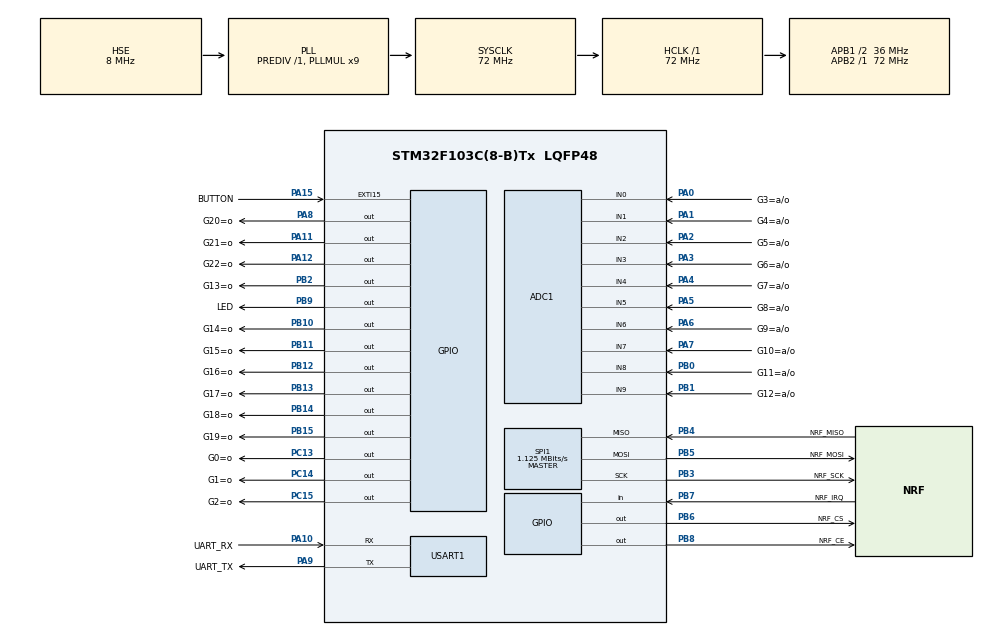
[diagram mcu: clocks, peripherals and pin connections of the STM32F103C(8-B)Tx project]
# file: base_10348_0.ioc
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ADC1.Channel-49\#ChannelRegularConversion=ADC_CHANNEL_0
ADC1.Channel-50\#ChannelRegularConversion=ADC_CHANNEL_1
ADC1.Channel-51\#ChannelRegularConversion=ADC_CHANNEL_2
ADC1.Channel-52\#ChannelRegularConversion=ADC_CHANNEL_3
ADC1.Channel-53\#ChannelRegularConversion=ADC_CHANNEL_4
ADC1.Channel-54\#ChannelRegularConversion=ADC_CHANNEL_5
ADC1.Channel-55\#ChannelRegularConversion=ADC_CHANNEL_6
ADC1.Channel-56\#ChannelRegularConversion=ADC_CHANNEL_7
ADC1.Channel-57\#ChannelRegularConversion=ADC_CHANNEL_8
ADC1.Channel-58\#ChannelRegularConversion=ADC_CHANNEL_9
ADC1.Channel-59\#ChannelRegularConversion=ADC_CHANNEL_0
ADC1.ContinuousConvMode=DISABLE
ADC1.DataAlign=ADC_DATAALIGN_RIGHT
ADC1.DiscontinuousConvMode=DISABLE
ADC1.EnableAnalogWatchDog=false
ADC1.EnableRegularConversion=ENABLE
ADC1.ExternalTrigConv=ADC_SOFTWARE_START
ADC1.InjNumberOfConversion=0
ADC1.NbrOfConversion=10
ADC1.NbrOfConversionFlag=1
ADC1.Rank-49\#ChannelRegularConversion=1
ADC1.Rank-50\#ChannelRegularConversion=2
ADC1.Rank-51\#ChannelRegularConversion=3
ADC1.Rank-52\#ChannelRegularConversion=4
ADC1.Rank-53\#ChannelRegularConversion=5
ADC1.Rank-54\#ChannelRegularConversion=6
ADC1.Rank-55\#ChannelRegularConversion=7
ADC1.Rank-56\#ChannelRegularConversion=8
ADC1.Rank-57\#ChannelRegularConversion=9
ADC1.Rank-58\#ChannelRegularConversion=10
ADC1.Rank-59\#ChannelRegularConversion=1
ADC1.SamplingTime-49\#ChannelRegularConversion=ADC_SAMPLETIME_239CYCLES_5
ADC1.SamplingTime-50\#ChannelRegularConversion=ADC_SAMPLETIME_239CYCLES_5
ADC1.SamplingTime-51\#ChannelRegularConversion=ADC_SAMPLETIME_239CYCLES_5
ADC1.SamplingTime-52\#ChannelRegularConversion=ADC_SAMPLETIME_239CYCLES_5
ADC1.SamplingTime-53\#ChannelRegularConversion=ADC_SAMPLETIME_239CYCLES_5
ADC1.SamplingTime-54\#ChannelRegularConversion=ADC_SAMPLETIME_239CYCLES_5
ADC1.SamplingTime-55\#ChannelRegularConversion=ADC_SAMPLETIME_239CYCLES_5
ADC1.SamplingTime-56\#ChannelRegularConversion=ADC_SAMPLETIME_239CYCLES_5
ADC1.SamplingTime-57\#ChannelRegularConversion=ADC_SAMPLETIME_239CYCLES_5
ADC1.SamplingTime-58\#ChannelRegularConversion=ADC_SAMPLETIME_239CYCLES_5
ADC1.SamplingTime-59\#ChannelRegularConversion=ADC_SAMPLETIME_1CYCLE_5
ADC1.ScanConvMode=ADC_SCAN_ENABLE
ADC1.master=1
Dma.ADC1.0.Direction=DMA_PERIPH_TO_MEMORY
Dma.ADC1.0.Instance=DMA1_Channel1
Dma.ADC1.0.MemDataAlignment=DMA_MDATAALIGN_WORD
Dma.ADC1.0.MemInc=DMA_MINC_ENABLE
Dma.ADC1.0.Mode=DMA_CIRCULAR
Dma.ADC1.0.PeriphDataAlignment=DMA_PDATAALIGN_WORD
Dma.ADC1.0.PeriphInc=DMA_PINC_DISABLE
Dma.ADC1.0.Priority=DMA_PRIORITY_HIGH
Dma.Request0=ADC1
FREERTOS.Tasks01=defaultTask,0,128,StartDefaultTask,Default,NULL
FREERTOS.configTOTAL_HEAP_SIZE=15000
FREERTOS.configUSE_COUNTING_SEMAPHORES=1
IWDG.Prescaler=IWDG_PRESCALER_32
IWDG.Reload=1000
Mcu.Family=STM32F1
Mcu.Name=STM32F103C(8-B)Tx
Mcu.Package=LQFP48
NVIC.DMA1_Channel1_IRQn=true\:5\:0\:false\:false\:true\:true\:false
NVIC.EXTI15_10_IRQn=true\:5\:0\:false\:false\:true\:true\:true
NVIC.PriorityGroup=NVIC_PRIORITYGROUP_4
NVIC.TIM1_UP_IRQn=true\:5\:0\:false\:false\:true\:true\:true
NVIC.USART1_IRQn=true\:5\:0\:false\:false\:true\:true\:true
PA0-WKUP.GPIO_Label=G3\=a/o
PA0-WKUP.Signal=ADCx_IN0
PA1.GPIO_Label=G4\=a/o
PA1.Signal=ADCx_IN1
PA10.GPIO_Label=UART_RX
PA10.Mode=Asynchronous
PA10.Signal=USART1_RX
PA11.GPIO_Label=G21\=o
PA11.Signal=GPIO_Output
PA12.GPIO_Label=G22\=o
PA12.Signal=GPIO_Output
PA13.Mode=Serial_Wire
PA13.Signal=SYS_JTMS-SWDIO
PA14.Mode=Serial_Wire
PA14.Signal=SYS_JTCK-SWCLK
PA15.GPIO_Label=BUTTON
PA15.GPIO_ModeDefaultEXTI=GPIO_MODE_IT_RISING_FALLING
PA15.GPIO_PuPd=GPIO_PULLUP
PA15.Signal=GPXTI15
PA2.GPIO_Label=G5\=a/o
PA2.Signal=ADCx_IN2
PA3.GPIO_Label=G6\=a/o
PA3.Signal=ADCx_IN3
PA4.GPIO_Label=G7\=a/o
PA4.Signal=ADCx_IN4
PA5.GPIO_Label=G8\=a/o
PA5.Signal=ADCx_IN5
PA6.GPIO_Label=G9\=a/o
PA6.Signal=ADCx_IN6
PA7.GPIO_Label=G10\=a/o
PA7.Signal=ADCx_IN7
PA8.GPIO_Label=G20\=o
PA8.GPIO_PuPd=GPIO_PULLDOWN
PA8.Signal=GPIO_Output
PA9.GPIO_Label=UART_TX
PA9.Mode=Asynchronous
PA9.Signal=USART1_TX
PB0.GPIO_Label=G11\=a/o
PB0.Signal=ADCx_IN8
PB1.GPIO_Label=G12\=a/o
PB1.Signal=ADCx_IN9
PB10.GPIO_Label=G14\=o
PB10.GPIO_PuPd=GPIO_PULLDOWN
PB10.Signal=GPIO_Output
PB11.GPIO_Label=G15\=o
PB11.GPIO_PuPd=GPIO_PULLDOWN
PB11.Signal=GPIO_Output
PB12.GPIO_Label=G16\=o
PB12.GPIO_PuPd=GPIO_PULLDOWN
PB12.Signal=GPIO_Output
PB13.GPIO_Label=G17\=o
PB13.GPIO_PuPd=GPIO_PULLDOWN
PB13.Signal=GPIO_Output
PB14.GPIO_Label=G18\=o
PB14.GPIO_PuPd=GPIO_PULLDOWN
PB14.Signal=GPIO_Output
PB15.GPIO_Label=G19\=o
PB15.GPIO_PuPd=GPIO_PULLDOWN
PB15.Signal=GPIO_Output
PB2.GPIO_Label=G13\=o
PB2.GPIO_PuPd=GPIO_PULLDOWN
PB2.Signal=GPIO_Output
PB3.GPIO_Label=NRF_SCK
PB3.Mode=Full_Duplex_Master
PB3.Signal=SPI1_SCK
PB4.GPIO_Label=NRF_MISO
PB4.Mode=Full_Duplex_Master
PB4.Signal=SPI1_MISO
PB5.GPIO_Label=NRF_MOSI
PB5.Mode=Full_Duplex_Master
PB5.Signal=SPI1_MOSI
PB6.GPIO_Label=NRF_CS
PB6.PinState=GPIO_PIN_SET
PB6.Signal=GPIO_Output
PB7.GPIO_Label=NRF_IRQ
PB7.Signal=GPIO_Input
PB8.GPIO_Label=NRF_CE
PB8.Signal=GPIO_Output
PB9.GPIO_Label=LED
PB9.Signal=GPIO_Output
PC13-TAMPER-RTC.GPIO_Label=G0\=o
PC13-TAMPER-RTC.Signal=GPIO_Output
PC14-OSC32_IN.GPIO_Label=G1\=o
PC14-OSC32_IN.Signal=GPIO_Output
PC15-OSC32_OUT.GPIO_Label=G2\=o
PC15-OSC32_OUT.Signal=GPIO_Output
PD0-OSC_IN.Mode=HSE-External-Oscillator
PD0-OSC_IN.Signal=RCC_OSC_IN
PD1-OSC_OUT.Mode=HSE-External-Oscillator
PD1-OSC_OUT.Signal=RCC_OSC_OUT
ProjectManager.HeapSize=0x200
ProjectManager.StackSize=0x400
ProjectManager.TargetToolchain=SW4STM32
RCC.ADCPresc=RCC_ADCPCLK2_DIV6
RCC.AHBFreq_Value=72000000
RCC.APB1CLKDivider=RCC_HCLK_DIV2
RCC.APB1Freq_Value=36000000
RCC.APB1TimFreq_Value=72000000
RCC.APB2Freq_Value=72000000
RCC.APB2TimFreq_Value=72000000
RCC.HCLKFreq_Value=72000000
RCC.PLLMUL=RCC_PLL_MUL9
RCC.PLLSourceVirtual=RCC_PLLSOURCE_HSE
RCC.SYSCLKFreq_VALUE=72000000
RCC.SYSCLKSource=RCC_SYSCLKSOURCE_PLLCLK
RCC.USBFreq_Value=72000000
SH.ADCx_IN0.0=ADC1_IN0,IN0
SH.ADCx_IN1.0=ADC1_IN1,IN1
SH.ADCx_IN2.0=ADC1_IN2,IN2
SH.ADCx_IN3.0=ADC1_IN3,IN3
SH.ADCx_IN4.0=ADC1_IN4,IN4
SH.ADCx_IN5.0=ADC1_IN5,IN5
SH.ADCx_IN6.0=ADC1_IN6,IN6
SH.ADCx_IN7.0=ADC1_IN7,IN7
SH.ADCx_IN8.0=ADC1_IN8,IN8
SH.ADCx_IN9.0=ADC1_IN9,IN9
SPI1.BaudRatePrescaler=SPI_BAUDRATEPRESCALER_64
SPI1.CalculateBaudRate=1.125 MBits/s
SPI1.Direction=SPI_DIRECTION_2LINES
SPI1.Mode=SPI_MODE_MASTER
SPI1.VirtualType=VM_MASTER
TIM1.ClockDivision=TIM_CLOCKDIVISION_DIV1
TIM1.Period=100
TIM1.Prescaler=36000
TIM1.TIM_MasterOutputTrigger=TIM_TRGO_UPDATE
USART1.VirtualMode=VM_ASYNC
VP_FREERTOS_VS_ENABLE.Mode=Enabled
VP_IWDG_VS_IWDG.Mode=IWDG_Activate
VP_TIM1_VS_ClockSourceINT.Mode=Internal
board=custom

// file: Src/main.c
/**
  ******************************************************************************
  * @file           : main.c
  * @brief          : Main program body
  ******************************************************************************
  * This notice applies to any and all portions of this file
  * that are not between comment pairs USER CODE BEGIN and
  * USER CODE END. Other portions of this file, whether
  * inserted by the user or by software development tools
  * are owned by their respective copyright owners.
  *
  * Copyright (c) 2019 STMicroelectronics International N.V.
  * All rights reserved.
  *
  * Redistribution and use in source and binary forms, with or without
  * modification, are permitted, provided that the following conditions are met:
  *
  * 1. Redistribution of source code must retain the above copyright notice,
  *    this list of conditions and the following disclaimer.
  * 2. Redistributions in binary form must reproduce the above copyright notice,
  *    this list of conditions and the following disclaimer in the documentation
  *    and/or other materials provided with the distribution.
  * 3. Neither the name of STMicroelectronics nor the names of other
  *    contributors to this software may be used to endorse or promote products
  *    derived from this software without specific written permission.
  * 4. This software, including modifications and/or derivative works of this
  *    software, must execute solely and exclusively on microcontroller or
  *    microprocessor devices manufactured by or for STMicroelectronics.
  * 5. Redistribution and use of this software other than as permitted under
  *    this license is void and will automatically terminate your rights under
  *    this license.
  *
  * THIS SOFTWARE IS PROVIDED BY STMICROELECTRONICS AND CONTRIBUTORS "AS IS"
  * AND ANY EXPRESS, IMPLIED OR STATUTORY WARRANTIES, INCLUDING, BUT NOT
  * LIMITED TO, THE IMPLIED WARRANTIES OF MERCHANTABILITY, FITNESS FOR A
  * PARTICULAR PURPOSE AND NON-INFRINGEMENT OF THIRD PARTY INTELLECTUAL PROPERTY
  * RIGHTS ARE DISCLAIMED TO THE FULLEST EXTENT PERMITTED BY LAW. IN NO EVENT
  * SHALL STMICROELECTRONICS OR CONTRIBUTORS BE LIABLE FOR ANY DIRECT, INDIRECT,
  * INCIDENTAL, SPECIAL, EXEMPLARY, OR CONSEQUENTIAL DAMAGES (INCLUDING, BUT NOT
  * LIMITED TO, PROCUREMENT OF SUBSTITUTE GOODS OR SERVICES; LOSS OF USE, DATA,
  * OR PROFITS; OR BUSINESS INTERRUPTION) HOWEVER CAUSED AND ON ANY THEORY OF
  * LIABILITY, WHETHER IN CONTRACT, STRICT LIABILITY, OR TORT (INCLUDING
  * NEGLIGENCE OR OTHERWISE) ARISING IN ANY WAY OUT OF THE USE OF THIS SOFTWARE,
  * EVEN IF ADVISED OF THE POSSIBILITY OF SUCH DAMAGE.
  *
  ******************************************************************************
  */
#include <event_manager.h>
#include <event_producer.h>
#include "main.h"
#include "stm32f1xx_hal.h"
#include "cmsis_os.h"

/* USER CODE BEGIN Includes */

#include "stm32f1xx_hal_iwdg.h"
#include "stm32f1xx_it.h"
#include "../Inc/eeprom.h"
#include <stdbool.h>
#include "../Inc/uart_receiver.h"
#include "../Inc/rf_receiver.h"
#include "../Inc/exb_gate.h"
#include "../Inc/proc.h"
#include "../Inc/transmitter.h"
#include "libs/oscl/include/threads.h"
#include "libs/oscl/include/data.h"
#include "libs/oscl/include/harware.h"
#include "libs/collections/include/lbq.h"
#include "libs/collections/include/lbq8.h"
#include "libs/collections/include/rings.h"
#include "libs/misc/include/dwt_delay.h"
#include "../Inc/defines.h"
#include "../Inc/adc.h"
#include "../Inc/executor.h"
#include "../Inc/config.h"
#include "../Inc/NRF24.h"
#include "../Inc/event_cotroller.h"
#include "../Inc/proc.h"

/* USER CODE END Includes */

ADC_HandleTypeDef hadc1;
DMA_HandleTypeDef hdma_adc1;

IWDG_HandleTypeDef hiwdg;

SPI_HandleTypeDef hspi1;

TIM_HandleTypeDef htim1;

UART_HandleTypeDef huart1;

osThreadId defaultTaskHandle;

/* USER CODE BEGIN PV */
/* Private variables ---------------------------------------------------------*/

RingBufferDef *uartRing = NULL;
Config *config;
char str1[20] = {0};
uint8_t buf1[20] = {0};
uint8_t dt_reg=0;
extern mutex_t *rf_mutex;
extern InterruptCut interruptCuts[23];

// This variables used for sort/man reset operations, see freertos default task
bool soft_reset = false;
bool man_reset = false;

/* USER CODE END PV */

void SystemClock_Config(void);
static void MX_GPIO_Init(void);
static void MX_DMA_Init(void);
static void MX_USART1_UART_Init(void);
static void MX_ADC1_Init(void);
static void MX_TIM1_Init(void);
static void MX_IWDG_Init(void);
static void MX_SPI1_Init(void);
void StartDefaultTask(void const * argument);

/* USER CODE BEGIN PFP */
/* Private function prototypes -----------------------------------------------*/
/* USER CODE END PFP */

int main(void)
{

  /* MCU Configuration----------------------------------------------------------*/

  /* Reset of all peripherals, Initializes the Flash interface and the Systick. */
  HAL_Init();

  /* USER CODE BEGIN Init */

  uartRing = RINGS_createRingBuffer(256, RINGS_OVERFLOW_SHIFT, 0);
  RingBufferDef *rfGateRing =	RINGS_createRingBuffer(256, RINGS_OVERFLOW_SHIFT, 1);
  RingBufferDef *uartGateRing =	RINGS_createRingBuffer(256, RINGS_OVERFLOW_SHIFT, 1);
  LinkedBlockingQueue *procQueue = new_LQB(15);
  LinkedBlockingQueue *transmitterQueue = new_LQB(15);
  QueueHandle_t pendingEventStream = xQueueCreate(5, 4);
  QueueHandle_t ackEventStream = xQueueCreate(5, 4);

  //Config_Reset(CONFIG_ADDRESS);
  config = Config_Load(CONFIG_ADDRESS);

  /* USER CODE END Init */

  /* Configure the system clock */
  SystemClock_Config();

  /* USER CODE BEGIN SysInit */
  DWT_Init();
  /* USER CODE END SysInit */

  /* Initialize all configured peripherals */
  MX_GPIO_Init();
  MX_DMA_Init();
  MX_USART1_UART_Init();
  MX_ADC1_Init();
  MX_TIM1_Init();
  MX_SPI1_Init();
  /* USER CODE BEGIN 2 */

  //Start indicator timer
  HAL_TIM_Base_Start_IT(&htim1);

  a_self = config->a_self;
  a_master = config->a_master;

  rf_mutex = NewMutex();
  NRF_spid = hspi1;
  NRF24_init();
  NRF24_init_check();

  Harware_initUart();
  ADC_init();

  /* USER CODE END 2 */

  /* Create the thread(s) */
  /* definition and creation of defaultTask */
  osThreadDef(defaultTask, StartDefaultTask, osPriorityNormal, 0, 128);
  defaultTaskHandle = osThreadCreate(osThread(defaultTask), NULL);

  /* USER CODE BEGIN RTOS_THREADS */

  osThreadDef(rfReceiverTask, RfReceiver_thread, osPriorityNormal, 0, 128);
  defaultTaskHandle = osThreadCreate(osThread(rfReceiverTask), rfGateRing);

  UartReceiverThreadArgs *uartReceiverArgs = (UartReceiverThreadArgs*) pmalloc(sizeof(UartReceiverThreadArgs));
  uartReceiverArgs->uartRing = uartRing;
  uartReceiverArgs->gateRing = uartGateRing;
  osThreadDef(uartReceiverTask, UartReceiver_thread, osPriorityNormal, 0, 128);
  defaultTaskHandle = osThreadCreate(osThread(uartReceiverTask), uartReceiverArgs);

  ExbGateThreadArgs *exbGateArgs1 = (ExbGateThreadArgs*) pmalloc(sizeof(ExbGateThreadArgs));
  exbGateArgs1->upRing = rfGateRing;
  exbGateArgs1->downQueue = procQueue;
  exbGateArgs1->marker = FROM_RF;
  exbGateArgs1->ackEventStream = ackEventStream;
  osThreadDef(exbRfGate, ExbGate_thread, osPriorityNormal, 0, 128);
  defaultTaskHandle = osThreadCreate(osThread(exbRfGate), exbGateArgs1);

  ExbGateThreadArgs *exbGateArgs2 = (ExbGateThreadArgs*) pmalloc(sizeof(ExbGateThreadArgs));
  exbGateArgs2->upRing = uartGateRing;
  exbGateArgs2->downQueue = procQueue;
  exbGateArgs2->marker = FROM_UART;
  exbGateArgs2->ackEventStream = ackEventStream;
  osThreadDef(exbUartGate, ExbGate_thread, osPriorityNormal, 0, 128);
  defaultTaskHandle = osThreadCreate(osThread(exbUartGate), exbGateArgs2);

  ProcThreadArgs *procArgs = (ProcThreadArgs*) pmalloc(sizeof(ProcThreadArgs));
  procArgs->upQueue = procQueue;
  procArgs->downQueue = transmitterQueue;
  osThreadDef(proc, Proc_thread, osPriorityNormal, 0, 200);
  defaultTaskHandle = osThreadCreate(osThread(proc), procArgs);

  osThreadDef(transmitter, Transmitter_thread, osPriorityNormal, 0, 128);
  defaultTaskHandle = osThreadCreate(osThread(transmitter), transmitterQueue);

  EventsProducerThreadArgs *evpThreadArgs = (EventsProducerThreadArgs*) pmalloc(sizeof(EventsProducerThreadArgs));
  evpThreadArgs->pendingEventStream = pendingEventStream;
  osThreadDef(eventProducer, EventsProducer_thread, osPriorityNormal, 0, 128);
  defaultTaskHandle = osThreadCreate(osThread(eventProducer), evpThreadArgs);

  EventsControllerThreadArgs *evcThreadArgs = (EventsControllerThreadArgs*) pmalloc(sizeof(EventsControllerThreadArgs));
  evcThreadArgs->pendingEventStream = pendingEventStream;
  evcThreadArgs->ackEventStream = ackEventStream;
  evcThreadArgs->transmitterQueue = transmitterQueue;
  osThreadDef(eventController, EventController_thread, osPriorityNormal, 0, 64);
  defaultTaskHandle = osThreadCreate(osThread(eventController), evcThreadArgs);

  /* add threads, ... */
  /* USER CODE END RTOS_THREADS */

  /* Start scheduler */
  osKernelStart();

  /* We should never get here as control is now taken by the scheduler */

  /* Infinite loop */
  while (1)
  {

  }

}

void SystemClock_Config(void)
{

  RCC_OscInitTypeDef RCC_OscInitStruct;
  RCC_ClkInitTypeDef RCC_ClkInitStruct;
  RCC_PeriphCLKInitTypeDef PeriphClkInit;

    /**Initializes the CPU, AHB and APB busses clocks
    */
  RCC_OscInitStruct.OscillatorType = RCC_OSCILLATORTYPE_LSI|RCC_OSCILLATORTYPE_HSE;
  RCC_OscInitStruct.HSEState = RCC_HSE_ON;
  RCC_OscInitStruct.HSEPredivValue = RCC_HSE_PREDIV_DIV1;
  RCC_OscInitStruct.HSIState = RCC_HSI_ON;
  RCC_OscInitStruct.LSIState = RCC_LSI_ON;
  RCC_OscInitStruct.PLL.PLLState = RCC_PLL_ON;
  RCC_OscInitStruct.PLL.PLLSource = RCC_PLLSOURCE_HSE;
  RCC_OscInitStruct.PLL.PLLMUL = RCC_PLL_MUL9;
  if (HAL_RCC_OscConfig(&RCC_OscInitStruct) != HAL_OK)
  {
    _Error_Handler(__FILE__, __LINE__);
  }

    /**Initializes the CPU, AHB and APB busses clocks
    */
  RCC_ClkInitStruct.ClockType = RCC_CLOCKTYPE_HCLK|RCC_CLOCKTYPE_SYSCLK
                              |RCC_CLOCKTYPE_PCLK1|RCC_CLOCKTYPE_PCLK2;
  RCC_ClkInitStruct.SYSCLKSource = RCC_SYSCLKSOURCE_PLLCLK;
  RCC_ClkInitStruct.AHBCLKDivider = RCC_SYSCLK_DIV1;
  RCC_ClkInitStruct.APB1CLKDivider = RCC_HCLK_DIV2;
  RCC_ClkInitStruct.APB2CLKDivider = RCC_HCLK_DIV1;

  if (HAL_RCC_ClockConfig(&RCC_ClkInitStruct, FLASH_LATENCY_2) != HAL_OK)
  {
    _Error_Handler(__FILE__, __LINE__);
  }

  PeriphClkInit.PeriphClockSelection = RCC_PERIPHCLK_ADC;
  PeriphClkInit.AdcClockSelection = RCC_ADCPCLK2_DIV6;
  if (HAL_RCCEx_PeriphCLKConfig(&PeriphClkInit) != HAL_OK)
  {
    _Error_Handler(__FILE__, __LINE__);
  }

    /**Configure the Systick interrupt time
    */
  HAL_SYSTICK_Config(HAL_RCC_GetHCLKFreq()/1000);

    /**Configure the Systick
    */
  HAL_SYSTICK_CLKSourceConfig(SYSTICK_CLKSOURCE_HCLK);

  /* SysTick_IRQn interrupt configuration */
  HAL_NVIC_SetPriority(SysTick_IRQn, 15, 0);
}

/* ADC1 init function */
static void MX_ADC1_Init(void)
{

  ADC_ChannelConfTypeDef sConfig;

    /**Common config
    */
  hadc1.Instance = ADC1;
  hadc1.Init.ScanConvMode = ADC_SCAN_ENABLE;
  hadc1.Init.ContinuousConvMode = DISABLE;
  hadc1.Init.DiscontinuousConvMode = DISABLE;
  hadc1.Init.ExternalTrigConv = ADC_SOFTWARE_START;
  hadc1.Init.DataAlign = ADC_DATAALIGN_RIGHT;
  hadc1.Init.NbrOfConversion = 10;
  if (HAL_ADC_Init(&hadc1) != HAL_OK)
  {
    _Error_Handler(__FILE__, __LINE__);
  }

    /**Configure Regular Channel
    */
  sConfig.Channel = ADC_CHANNEL_0;
  sConfig.Rank = ADC_REGULAR_RANK_1;
  sConfig.SamplingTime =  ADC_SAMPLETIME_239CYCLES_5;
  if (HAL_ADC_ConfigChannel(&hadc1, &sConfig) != HAL_OK)
  {
    _Error_Handler(__FILE__, __LINE__);
  }

    /**Configure Regular Channel
    */
  sConfig.SamplingTime = ADC_SAMPLETIME_239CYCLES_5;
  if (HAL_ADC_ConfigChannel(&hadc1, &sConfig) != HAL_OK)
  {
    _Error_Handler(__FILE__, __LINE__);
  }

    /**Configure Regular Channel
    */
  sConfig.Channel = ADC_CHANNEL_1;
  sConfig.Rank = ADC_REGULAR_RANK_2;
  if (HAL_ADC_ConfigChannel(&hadc1, &sConfig) != HAL_OK)
  {
    _Error_Handler(__FILE__, __LINE__);
  }

    /**Configure Regular Channel
    */
  sConfig.Channel = ADC_CHANNEL_2;
  sConfig.Rank = ADC_REGULAR_RANK_3;
  if (HAL_ADC_ConfigChannel(&hadc1, &sConfig) != HAL_OK)
  {
    _Error_Handler(__FILE__, __LINE__);
  }

    /**Configure Regular Channel
    */
  sConfig.Channel = ADC_CHANNEL_3;
  sConfig.Rank = ADC_REGULAR_RANK_4;
  if (HAL_ADC_ConfigChannel(&hadc1, &sConfig) != HAL_OK)
  {
    _Error_Handler(__FILE__, __LINE__);
  }

    /**Configure Regular Channel
    */
  sConfig.Channel = ADC_CHANNEL_4;
  sConfig.Rank = ADC_REGULAR_RANK_5;
  if (HAL_ADC_ConfigChannel(&hadc1, &sConfig) != HAL_OK)
  {
    _Error_Handler(__FILE__, __LINE__);
  }

    /**Configure Regular Channel
    */
  sConfig.Channel = ADC_CHANNEL_5;
  sConfig.Rank = ADC_REGULAR_RANK_6;
  if (HAL_ADC_ConfigChannel(&hadc1, &sConfig) != HAL_OK)
  {
    _Error_Handler(__FILE__, __LINE__);
  }

    /**Configure Regular Channel
    */
  sConfig.Channel = ADC_CHANNEL_6;
  sConfig.Rank = ADC_REGULAR_RANK_7;
  if (HAL_ADC_ConfigChannel(&hadc1, &sConfig) != HAL_OK)
  {
    _Error_Handler(__FILE__, __LINE__);
  }

    /**Configure Regular Channel
    */
  sConfig.Channel = ADC_CHANNEL_7;
  sConfig.Rank = ADC_REGULAR_RANK_8;
  if (HAL_ADC_ConfigChannel(&hadc1, &sConfig) != HAL_OK)
  {
    _Error_Handler(__FILE__, __LINE__);
  }

    /**Configure Regular Channel
    */
  sConfig.Channel = ADC_CHANNEL_8;
  sConfig.Rank = ADC_REGULAR_RANK_9;
  if (HAL_ADC_ConfigChannel(&hadc1, &sConfig) != HAL_OK)
  {
    _Error_Handler(__FILE__, __LINE__);
  }

    /**Configure Regular Channel
    */
  sConfig.Channel = ADC_CHANNEL_9;
  sConfig.Rank = ADC_REGULAR_RANK_10;
  if (HAL_ADC_ConfigChannel(&hadc1, &sConfig) != HAL_OK)
  {
    _Error_Handler(__FILE__, __LINE__);
  }

}

/* IWDG init function */
static void MX_IWDG_Init(void)
{

  hiwdg.Instance = IWDG;
  hiwdg.Init.Prescaler = IWDG_PRESCALER_32;
  hiwdg.Init.Reload = 1000;
  if (HAL_IWDG_Init(&hiwdg) != HAL_OK)
  {
    _Error_Handler(__FILE__, __LINE__);
  }

}

/* SPI1 init function */
static void MX_SPI1_Init(void)
{

  /* SPI1 parameter configuration*/
  hspi1.Instance = SPI1;
  hspi1.Init.Mode = SPI_MODE_MASTER;
  hspi1.Init.Direction = SPI_DIRECTION_2LINES;
  hspi1.Init.DataSize = SPI_DATASIZE_8BIT;
  hspi1.Init.CLKPolarity = SPI_POLARITY_LOW;
  hspi1.Init.CLKPhase = SPI_PHASE_1EDGE;
  hspi1.Init.NSS = SPI_NSS_SOFT;
  hspi1.Init.BaudRatePrescaler = SPI_BAUDRATEPRESCALER_64;
  hspi1.Init.FirstBit = SPI_FIRSTBIT_MSB;
  hspi1.Init.TIMode = SPI_TIMODE_DISABLE;
  hspi1.Init.CRCCalculation = SPI_CRCCALCULATION_DISABLE;
  hspi1.Init.CRCPolynomial = 10;
  if (HAL_SPI_Init(&hspi1) != HAL_OK)
  {
    _Error_Handler(__FILE__, __LINE__);
  }

}

/* TIM1 init function */
static void MX_TIM1_Init(void)
{

  TIM_ClockConfigTypeDef sClockSourceConfig;
  TIM_MasterConfigTypeDef sMasterConfig;

  htim1.Instance = TIM1;
  htim1.Init.Prescaler = 36000;
  htim1.Init.CounterMode = TIM_COUNTERMODE_UP;
  htim1.Init.Period = 100;
  htim1.Init.ClockDivision = TIM_CLOCKDIVISION_DIV1;
  htim1.Init.RepetitionCounter = 0;
  htim1.Init.AutoReloadPreload = TIM_AUTORELOAD_PRELOAD_DISABLE;
  if (HAL_TIM_Base_Init(&htim1) != HAL_OK)
  {
    _Error_Handler(__FILE__, __LINE__);
  }

  sClockSourceConfig.ClockSource = TIM_CLOCKSOURCE_INTERNAL;
  if (HAL_TIM_ConfigClockSource(&htim1, &sClockSourceConfig) != HAL_OK)
  {
    _Error_Handler(__FILE__, __LINE__);
  }

  sMasterConfig.MasterOutputTrigger = TIM_TRGO_UPDATE;
  sMasterConfig.MasterSlaveMode = TIM_MASTERSLAVEMODE_DISABLE;
  if (HAL_TIMEx_MasterConfigSynchronization(&htim1, &sMasterConfig) != HAL_OK)
  {
    _Error_Handler(__FILE__, __LINE__);
  }

}

/* USART1 init function */
static void MX_USART1_UART_Init(void)
{

  huart1.Instance = USART1;
  huart1.Init.BaudRate = 115200;
  huart1.Init.WordLength = UART_WORDLENGTH_8B;
  huart1.Init.StopBits = UART_STOPBITS_1;
  huart1.Init.Parity = UART_PARITY_NONE;
  huart1.Init.Mode = UART_MODE_TX_RX;
  huart1.Init.HwFlowCtl = UART_HWCONTROL_NONE;
  huart1.Init.OverSampling = UART_OVERSAMPLING_16;
  if (HAL_UART_Init(&huart1) != HAL_OK)
  {
    _Error_Handler(__FILE__, __LINE__);
  }

}

static void MX_DMA_Init(void)
{
  /* DMA controller clock enable */
  __HAL_RCC_DMA1_CLK_ENABLE();

  /* DMA interrupt init */
  /* DMA1_Channel1_IRQn interrupt configuration */
  HAL_NVIC_SetPriority(DMA1_Channel1_IRQn, 5, 0);
  HAL_NVIC_EnableIRQ(DMA1_Channel1_IRQn);

}

/** Configure pins as
        * Analog
        * Input
        * Output
        * EVENT_OUT
        * EXTI
*/
static void MX_GPIO_Init(void)
{

  GPIO_InitTypeDef GPIO_InitStruct;

  /* GPIO Ports Clock Enable */
  __HAL_RCC_GPIOC_CLK_ENABLE();
  __HAL_RCC_GPIOD_CLK_ENABLE();
  __HAL_RCC_GPIOA_CLK_ENABLE();
  __HAL_RCC_GPIOB_CLK_ENABLE();

  /*Configure GPIO pin Output Level */
  HAL_GPIO_WritePin(GPIOC, G0_o_Pin|G1_o_Pin|G2_o_Pin, GPIO_PIN_RESET);

  /*Configure GPIO pin Output Level */
  HAL_GPIO_WritePin(GPIOB, G13_o_Pin|G14_o_Pin|G15_o_Pin|G16_o_Pin
                          |G17_o_Pin|G18_o_Pin|G19_o_Pin|NRF_CE_Pin
                          |LED_Pin, GPIO_PIN_RESET);

  /*Configure GPIO pin Output Level */
  HAL_GPIO_WritePin(GPIOA, G20_o_Pin|G21_o_Pin|G22_o_Pin, GPIO_PIN_RESET);

  /*Configure GPIO pin Output Level */
  HAL_GPIO_WritePin(NRF_CS_GPIO_Port, NRF_CS_Pin, GPIO_PIN_SET);

  /*Configure GPIO pins : G0_o_Pin G1_o_Pin G2_o_Pin */
  GPIO_InitStruct.Pin = G0_o_Pin|G1_o_Pin|G2_o_Pin;
  GPIO_InitStruct.Mode = GPIO_MODE_OUTPUT_PP;
  GPIO_InitStruct.Pull = GPIO_NOPULL;
  GPIO_InitStruct.Speed = GPIO_SPEED_FREQ_LOW;
  HAL_GPIO_Init(GPIOC, &GPIO_InitStruct);

  /*Configure GPIO pins : G13_o_Pin G14_o_Pin G15_o_Pin G16_o_Pin
                           G17_o_Pin G18_o_Pin G19_o_Pin */
  GPIO_InitStruct.Pin = G13_o_Pin|G14_o_Pin|G15_o_Pin|G16_o_Pin
                          |G17_o_Pin|G18_o_Pin|G19_o_Pin;
  GPIO_InitStruct.Mode = GPIO_MODE_OUTPUT_PP;
  GPIO_InitStruct.Pull = GPIO_PULLDOWN;
  GPIO_InitStruct.Speed = GPIO_SPEED_FREQ_LOW;
  HAL_GPIO_Init(GPIOB, &GPIO_InitStruct);

  /*Configure GPIO pin : G20_o_Pin */
  GPIO_InitStruct.Pin = G20_o_Pin;
  GPIO_InitStruct.Mode = GPIO_MODE_OUTPUT_PP;
  GPIO_InitStruct.Pull = GPIO_PULLDOWN;
  GPIO_InitStruct.Speed = GPIO_SPEED_FREQ_LOW;
  HAL_GPIO_Init(G20_o_GPIO_Port, &GPIO_InitStruct);

  /*Configure GPIO pins : G21_o_Pin G22_o_Pin */
  GPIO_InitStruct.Pin = G21_o_Pin|G22_o_Pin;
  GPIO_InitStruct.Mode = GPIO_MODE_OUTPUT_PP;
  GPIO_InitStruct.Pull = GPIO_NOPULL;
  GPIO_InitStruct.Speed = GPIO_SPEED_FREQ_LOW;
  HAL_GPIO_Init(GPIOA, &GPIO_InitStruct);

  /*Configure GPIO pin : BUTTON_Pin */
  GPIO_InitStruct.Pin = BUTTON_Pin;
  GPIO_InitStruct.Mode = GPIO_MODE_IT_RISING_FALLING;
  GPIO_InitStruct.Pull = GPIO_PULLUP;
  HAL_GPIO_Init(BUTTON_GPIO_Port, &GPIO_InitStruct);

  /*Configure GPIO pins : NRF_CS_Pin NRF_CE_Pin LED_Pin */
  GPIO_InitStruct.Pin = NRF_CS_Pin|NRF_CE_Pin|LED_Pin;
  GPIO_InitStruct.Mode = GPIO_MODE_OUTPUT_PP;
  GPIO_InitStruct.Pull = GPIO_NOPULL;
  GPIO_InitStruct.Speed = GPIO_SPEED_FREQ_LOW;
  HAL_GPIO_Init(GPIOB, &GPIO_InitStruct);

  /*Configure GPIO pin : NRF_IRQ_Pin */
  GPIO_InitStruct.Pin = NRF_IRQ_Pin;
  GPIO_InitStruct.Mode = GPIO_MODE_INPUT;
  GPIO_InitStruct.Pull = GPIO_NOPULL;
  HAL_GPIO_Init(NRF_IRQ_GPIO_Port, &GPIO_InitStruct);
}

void StartDefaultTask(void const * argument) {

	GPIO_InitTypeDef GPIO_InitStruct;

	// ----------------- exb gpio configuration -----------------------

	for (uint8_t i = 0; i <= 22; i++) { //Configure exb gpio system
	  if (i < 2 || i > 12) { // For all not adc and not pin 2 (button irq pair)
		  char *pin_s = itoa2(i);
		  GpioMap *gp = Executor_map_gpio(pin_s);
		  uint16_t set = 0;
		  memcpy(&set, &(config->gpiom[i]), 2);
		  uint16_t mode = (set & 0b1111000000000000) >> 12;
		  if (mode == 0) { // OUT
			  uint16_t state = (set & 0b0000100000000000) >> 11;

			  GPIO_InitStruct.Pin = gp->pin;
			  GPIO_InitStruct.Mode = GPIO_MODE_OUTPUT_PP;
			  GPIO_InitStruct.Pull = GPIO_NOPULL;
			  GPIO_InitStruct.Speed = GPIO_SPEED_FREQ_LOW;
			  HAL_GPIO_Init(gp->port, &GPIO_InitStruct);

			  if (state == 0)
				  HAL_GPIO_WritePin(gp->port, gp->pin, GPIO_PIN_RESET);
			  else
				  HAL_GPIO_WritePin(gp->port, gp->pin, GPIO_PIN_SET);

		  } else if (mode == 1) { // IN
			  uint16_t pull = (set & 0b0000110000000000) >> 10;

			  GPIO_InitStruct.Pin = gp->pin;
			  GPIO_InitStruct.Mode = GPIO_MODE_OUTPUT_PP;

			  if (pull == 0)
				  GPIO_InitStruct.Pull = GPIO_PULLUP;
			  else if (pull == 1)
				  GPIO_InitStruct.Pull = GPIO_PULLDOWN;
			  else
				  GPIO_InitStruct.Pull = GPIO_NOPULL;

			  GPIO_InitStruct.Speed = GPIO_SPEED_FREQ_LOW;
			  HAL_GPIO_Init(gp->port, &GPIO_InitStruct);

		  } else if (mode == 2) { // IRQ
			  uint16_t mode = (set & 0b0000110000000000) >> 10;
			  uint16_t pull = (set & 0b0000001100000000) >> 8;
			  uint16_t cutoff = (set & 0b0000000011100000) >> 5;

			  GPIO_InitStruct.Pin = gp->pin;

			  if (mode == 0) {
				  GPIO_InitStruct.Mode = GPIO_MODE_IT_RISING;
			  } else if (mode == 1) {
				  GPIO_InitStruct.Mode = GPIO_MODE_IT_FALLING;
			  } else {
				  GPIO_InitStruct.Mode = GPIO_MODE_IT_RISING_FALLING;
			  }

			  if (pull == 0)
				  GPIO_InitStruct.Pull = GPIO_PULLUP;
			  else if (pull == 1)
			  	  GPIO_InitStruct.Pull = GPIO_PULLDOWN;
			  else
				  GPIO_InitStruct.Pull = GPIO_NOPULL;

			  HAL_GPIO_Init(gp->port, &GPIO_InitStruct);

			  uint16_t c = 0;
			  if (cutoff == 1)
				  c = 1;
			  else if (cutoff == 2)
				  c = 10;
			  else if (cutoff == 3)
				  c = 50;
			  else if (cutoff == 4)
				  c = 100;
			  else if (cutoff == 5)
				  c = 250;
			  else if (cutoff == 6)
				  c = 500;
			  else if (cutoff == 7)
				  c = 1000;

			  InterruptCut cut = {0, c};
			  uint16_t complPin = Executor_pinToGpio(gp->pin);
			  interruptCuts[complPin] = cut;
			  interruptCuts[i] = cut;
		  }

		  pfree(pin_s);
		  pfree(gp);
	  }
	}

	  /* EXTI interrupt init*/
	  HAL_NVIC_SetPriority(EXTI15_10_IRQn, 5, 0);
	  HAL_NVIC_EnableIRQ(EXTI15_10_IRQn);

	  HAL_NVIC_SetPriority(EXTI9_5_IRQn, 6, 0);
	  HAL_NVIC_EnableIRQ(EXTI9_5_IRQn);

	  HAL_NVIC_SetPriority(EXTI4_IRQn, 7, 0);
	  HAL_NVIC_EnableIRQ(EXTI4_IRQn);

	  HAL_NVIC_SetPriority(EXTI3_IRQn, 8, 0);
	  HAL_NVIC_EnableIRQ(EXTI3_IRQn);

	  HAL_NVIC_SetPriority(EXTI2_IRQn, 9, 0);
	  HAL_NVIC_EnableIRQ(EXTI2_IRQn);

	  HAL_NVIC_SetPriority(EXTI1_IRQn, 10, 0);
	  HAL_NVIC_EnableIRQ(EXTI1_IRQn);

	  HAL_NVIC_SetPriority(EXTI0_IRQn, 11, 0);
	  HAL_NVIC_EnableIRQ(EXTI0_IRQn);

	// -------------------------------------------------------------

	 MX_IWDG_Init();

	 for(;;) {
		  // reset_mode set by button interrupt handler
		  if (soft_reset) { //soft reset mode
			; //do not refresh iwdg, mcu will be reset at iwdg overflow ( <= 1000 ms )
		  } else if (man_reset) { //man reset mode
			  Config_Reset(CONFIG_ADDRESS); //clear config magic, it will fully reset firmware configuration
			  //do not refresh iwdg, mcu will be reset at iwdg overflow ( <= 1000 ms )
		  } else {
			  HAL_IWDG_Refresh(&hiwdg);
		  }

		  vTaskDelay(200);
	 }
  /* USER CODE END 5 */
}

void _Error_Handler(char *file, int line)
{
  while(1)
  {
  }
}

/************************ (C) COPYRIGHT STMicroelectronics *****END OF FILE****/
